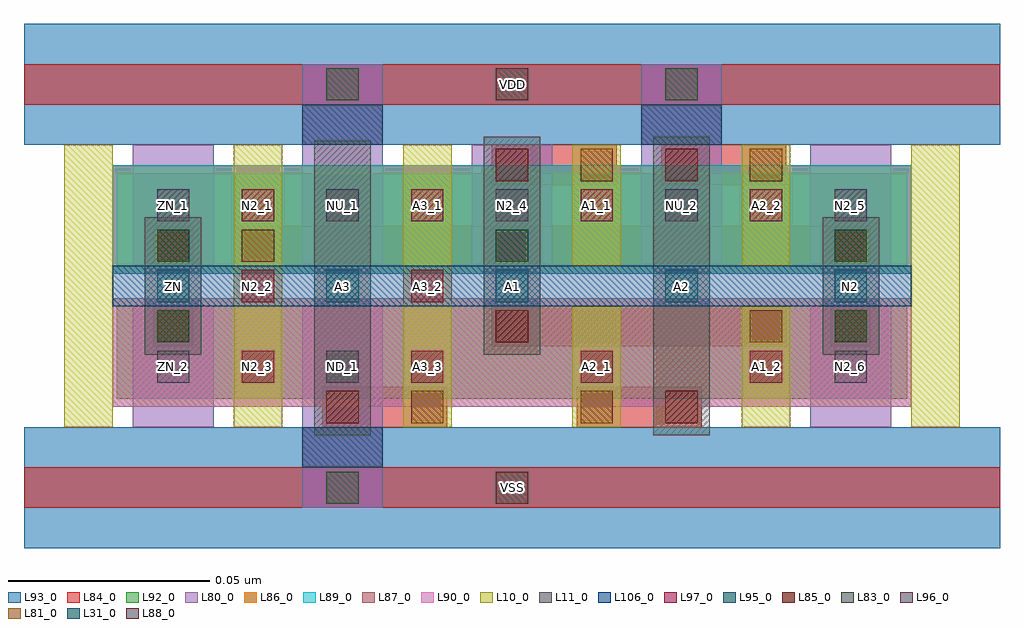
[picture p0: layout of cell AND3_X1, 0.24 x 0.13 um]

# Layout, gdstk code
import gdstk
lib = gdstk.Library(unit=1e-6, precision=1e-09)
def R(c, l, rs):  # rectangles x0, y0, x1, y1
    for r in rs: c.add(gdstk.rectangle(r[:2], r[2:], *l))
def A(c, l, x, y, w, h, nx, ny, dx, dy):  # array of equal rectangles
    R(c, l, [(x+i*dx, y+j*dy, x+i*dx+w, y+j*dy+h) for i in range(nx) for j in range(ny)])
L10_0 = (10, 0)
L11_0 = (11, 0)
L31_0 = (31, 0)
L80_0 = (80, 0)
L81_0 = (81, 0)
L83_0 = (83, 0)
L84_0 = (84, 0)
L85_0 = (85, 0)
L86_0 = (86, 0)
L87_0 = (87, 0)
L88_0 = (88, 0)
L89_0 = (89, 0)
L90_0 = (90, 0)
L92_0 = (92, 0)
L93_0 = (93, 0)
L95_0 = (95, 0)
L96_0 = (96, 0)
L97_0 = (97, 0)
L106_0 = (106, 0)

and3_x1 = lib.new_cell('AND3_X1')
A(and3_x1, L10_0, -0.027, 0.015, 0.012, 0.07, 3, 1, 0.042, 0)
R(and3_x1, L10_0, [(0.099,0.015,0.111,0.045), (0.141,0.015,0.153,0.045), (0.183,0.015,0.195,0.085), (0.099,0.055,0.111,0.085), (0.141,0.055,0.153,0.085)])
A(and3_x1, L11_0, 0.077, 0.033, 0.014, 0.034, 3, 1, 0.042, 0)
R(and3_x1, L11_0, [(0.035,0.013,0.049,0.086), (0.119,0.013,0.133,0.047), (-0.007,0.033,0.007,0.067), (0.077,0.053,0.091,0.087), (0.119,0.053,0.133,0.087)])
A(and3_x1, L31_0, -0.004, 0.046, 0.008, 0.008, 5, 1, 0.042, 0)
A(and3_x1, L80_0, -0.01, 0.055, 0.02, 0.03, 5, 1, 0.042, 0)
R(and3_x1, L80_0, [(0.032,-0.005,0.052,0.025), (-0.01,0.015,0.01,0.045), (0.032,0.015,0.052,0.045), (0.158,0.015,0.178,0.045), (0.032,0.075,0.052,0.105), (0.116,0.075,0.136,0.105)])
R(and3_x1, L81_0, [(0.059,0.016,0.067,0.024), (0.101,0.016,0.109,0.024), (0.143,0.036,0.151,0.044), (0.017,0.056,0.025,0.064), (0.101,0.076,0.109,0.084), (0.143,0.076,0.151,0.084)])
A(and3_x1, L83_0, -0.004, 0.056, 0.008, 0.008, 3, 1, 0.084, 0)
R(and3_x1, L83_0, [(0.038,-0.004,0.046,0.004), (-0.004,0.036,0.004,0.044), (0.164,0.036,0.172,0.044), (0.038,0.096,0.046,0.104), (0.122,0.096,0.13,0.104)])
A(and3_x1, L84_0, 0.079, 0.035, 0.031, 0.01, 3, 1, 0.021, 0)
A(and3_x1, L84_0, 0.016, 0.055, 0.031, 0.01, 7, 1, 0.021, 0)
R(and3_x1, L84_0, [(-0.037,-0.005,0.205,0.005), (0.037,0.015,0.068,0.025), (0.1,0.015,0.131,0.025), (-0.005,0.035,0.005,0.045), (0.163,0.035,0.173,0.045), (-0.005,0.055,0.005,0.065), (0.079,0.075,0.11,0.085), (0.121,0.075,0.152,0.085), (-0.037,0.095,0.205,0.105)])
A(and3_x1, L85_0, -0.004, 0.036, 0.008, 0.008, 3, 1, 0.084, 0)
R(and3_x1, L85_0, [(0.038,0.016,0.046,0.024), (0.122,0.016,0.13,0.024), (-0.004,0.056,0.004,0.064), (0.164,0.056,0.172,0.064), (0.08,0.076,0.088,0.084), (0.122,0.076,0.13,0.084)])
R(and3_x1, L86_0, [(-0.015,0.053,0.183,0.08)])
R(and3_x1, L87_0, [(-0.015,0.02,0.183,0.047)])
R(and3_x1, L88_0, [(0.08,-0.004,0.088,0.004), (0.08,0.096,0.088,0.104)])
R(and3_x1, L89_0, [(-0.015,0.053,0.183,0.08)])
R(and3_x1, L90_0, [(-0.015,0.02,0.183,0.047)])
R(and3_x1, L92_0, [(-0.014,0.022,0.182,0.045), (-0.014,0.055,0.182,0.078)])
R(and3_x1, L93_0, [(-0.037,-0.015,0.205,0.015), (-0.037,0.085,0.205,0.115)])
R(and3_x1, L95_0, [(0.032,0.005,0.052,0.015), (0.032,0.085,0.052,0.095), (0.116,0.085,0.136,0.095)])
A(and3_x1, L96_0, -0.004, 0.066, 0.008, 0.008, 5, 1, 0.042, 0)
R(and3_x1, L96_0, [(-0.004,0.026,0.004,0.034), (0.038,0.026,0.046,0.034), (0.164,0.026,0.172,0.034)])
A(and3_x1, L97_0, 0.017, 0.026, 0.008, 0.008, 4, 2, 0.042, 0.04)
R(and3_x1, L97_0, [(0.017,0.046,0.025,0.054), (0.059,0.046,0.067,0.054)])
R(and3_x1, L106_0, [(-0.015,0.045,0.183,0.055)])
and3_x1.add(gdstk.Label('ZN_2', (0,0.03), layer=96, texttype=0))
and3_x1.add(gdstk.Label('N2_6', (0.168,0.03), layer=96, texttype=0))
and3_x1.add(gdstk.Label('N2_5', (0.168,0.07), layer=96, texttype=0))
and3_x1.add(gdstk.Label('ND_1', (0.042,0.03), layer=96, texttype=0))
and3_x1.add(gdstk.Label('NU_2', (0.126,0.07), layer=96, texttype=0))
and3_x1.add(gdstk.Label('N2_4', (0.084,0.07), layer=96, texttype=0))
and3_x1.add(gdstk.Label('NU_1', (0.042,0.07), layer=96, texttype=0))
and3_x1.add(gdstk.Label('ZN_1', (0,0.07), layer=96, texttype=0))
and3_x1.add(gdstk.Label('A1_2', (0.147,0.03), layer=97, texttype=0))
and3_x1.add(gdstk.Label('A2_1', (0.105,0.03), layer=97, texttype=0))
and3_x1.add(gdstk.Label('A3_3', (0.063,0.03), layer=97, texttype=0))
and3_x1.add(gdstk.Label('N2_3', (0.021,0.03), layer=97, texttype=0))
and3_x1.add(gdstk.Label('A2_2', (0.147,0.07), layer=97, texttype=0))
and3_x1.add(gdstk.Label('A1_1', (0.105,0.07), layer=97, texttype=0))
and3_x1.add(gdstk.Label('N2_2', (0.021,0.05), layer=97, texttype=0))
and3_x1.add(gdstk.Label('A3_1', (0.063,0.07), layer=97, texttype=0))
and3_x1.add(gdstk.Label('A3_2', (0.063,0.05), layer=97, texttype=0))
and3_x1.add(gdstk.Label('N2_1', (0.021,0.07), layer=97, texttype=0))
and3_x1.add(gdstk.Label('A3', (0.042,0.05), layer=31, texttype=0))
and3_x1.add(gdstk.Label('N2', (0.168,0.05), layer=31, texttype=0))
and3_x1.add(gdstk.Label('A2', (0.126,0.05), layer=31, texttype=0))
and3_x1.add(gdstk.Label('A1', (0.084,0.05), layer=31, texttype=0))
and3_x1.add(gdstk.Label('ZN', (0,0.05), layer=31, texttype=0))
and3_x1.add(gdstk.Label('VSS', (0.084,0), layer=88, texttype=0))
and3_x1.add(gdstk.Label('VDD', (0.084,0.1), layer=88, texttype=0))

lib.write_gds('AND3_X1.gds')
